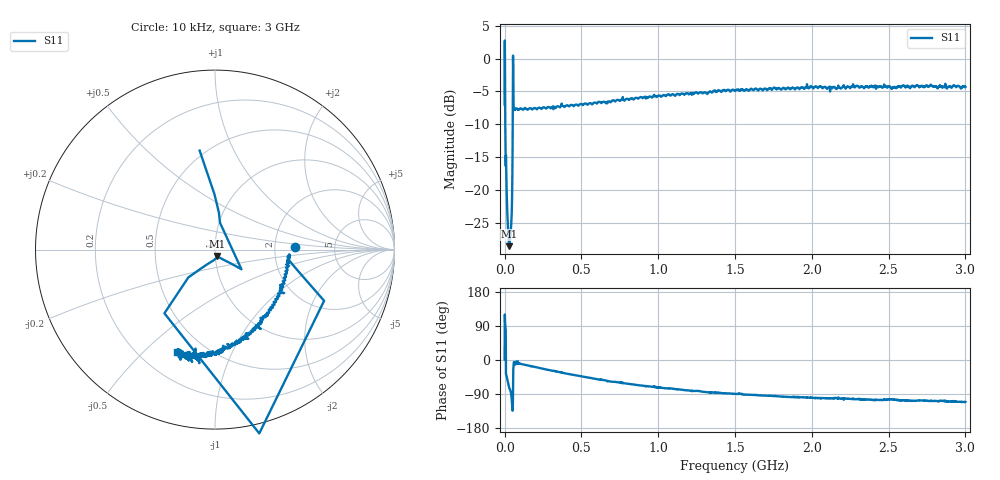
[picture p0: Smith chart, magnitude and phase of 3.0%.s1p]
# HZ S RI R 50
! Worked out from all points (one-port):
!   2020 points, 10 kHz to 3 GHz, reference 50 ohm
!   lowest |S11| = -28.5 dB at 29.73 MHz (marker M1), VSWR 1.08, Z = 50.9 - j3.69 ohm
!   |S11| at or under -10 dB: 4.404 MHz to 52.79 MHz (48.38 MHz wide, 169 % of centre)
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10000  0.4471 0.0148
7439395  0.0276 0.1502
1.635467e7  0.0482 -0.0566
1.784055e7  0.0405 -0.0526
2.081231e7  0.0288 -0.0465
2.526994e7  0.0176 -0.0404
2.972758e7  0.0102 -0.0362
3.418522e7  0.00929 -0.0402
3.715698e7  0.00772 -0.044
3.864285e7  0.00655 -0.0462
4.012873e7  0.00484 -0.0488
4.161461e7  0.0026 -0.0515
5.64734e7  0.6079 -0.2852
6.39028e7  0.4072 -0.0468
6.836043e7  0.3991 -0.0866
6.984631e7  0.4125 -0.0413
7.133219e7  0.4141 -0.0399
7.430395e7  0.4115 -0.054
3.759374e8  0.3645 -0.243
7.503789e8  0.2418 -0.4101
1.126306e9  0.1168 -0.5259
1.500748e9  0.00697 -0.5675
1.875189e9  -0.0806 -0.5959
2.251117e9  -0.1304 -0.5833
2.40119e9  -0.1638 -0.5841
2.518575e9  -0.142 -0.5746
2.625558e9  -0.1769 -0.5939
3e9  -0.2133 -0.5693
